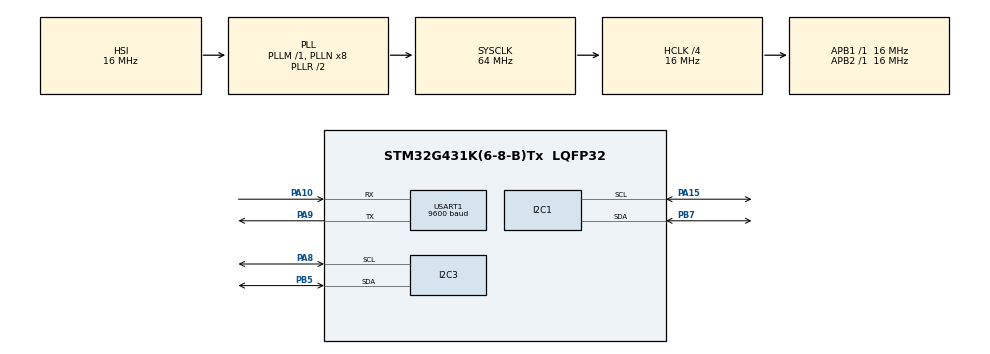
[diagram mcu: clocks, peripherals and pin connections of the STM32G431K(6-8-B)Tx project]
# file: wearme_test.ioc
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I2C1.Timing=0x00503D58
I2C3.Timing=0x00503D58
Mcu.Family=STM32G4
Mcu.Name=STM32G431K(6-8-B)Tx
Mcu.Package=LQFP32
NUCLEO-G431KB.LD2=false
NVIC.PriorityGroup=NVIC_PRIORITYGROUP_4
PA10.Mode=Asynchronous
PA10.Signal=USART1_RX
PA13.GPIO_Label=T_SWDIO
PA13.Mode=Trace_Asynchronous_SW
PA13.Signal=SYS_JTMS-SWDIO
PA14.GPIO_Label=T_SWCLK
PA14.Mode=Trace_Asynchronous_SW
PA14.Signal=SYS_JTCK-SWCLK
PA15.Mode=I2C
PA15.Signal=I2C1_SCL
PA8.Mode=I2C
PA8.Signal=I2C3_SCL
PA9.Mode=Asynchronous
PA9.Signal=USART1_TX
PB3.GPIO_Label=T_SWO
PB3.Mode=Trace_Asynchronous_SW
PB3.Signal=SYS_JTDO-SWO
PB5.Mode=I2C
PB5.Signal=I2C3_SDA
PB7.Mode=I2C
PB7.Signal=I2C1_SDA
ProjectManager.HeapSize=0x200
ProjectManager.StackSize=0x400
ProjectManager.TargetToolchain=STM32CubeIDE
RCC.ADC12Freq_Value=64000000
RCC.AHBCLKDivider=RCC_SYSCLK_DIV4
RCC.AHBFreq_Value=16000000
RCC.APB1Freq_Value=16000000
RCC.APB1TimFreq_Value=16000000
RCC.APB2Freq_Value=16000000
RCC.APB2TimFreq_Value=16000000
RCC.CortexFreq_Value=16000000
RCC.EXTERNAL_CLOCK_VALUE=12288000
RCC.HCLKFreq_Value=16000000
RCC.HSE_VALUE=8000000
RCC.HSI48_VALUE=48000000
RCC.HSI_VALUE=16000000
RCC.LSE_VALUE=32768
RCC.SYSCLKFreq_VALUE=64000000
RCC.SYSCLKSource=RCC_SYSCLKSOURCE_PLLCLK
RCC.USBFreq_Value=64000000
RCC.VCOOutputFreq_Value=128000000
USART1.BaudRate=9600
USART1.VirtualMode-Asynchronous=VM_ASYNC
VP_NUCLEO-G431KB_VS_BSP_COMMON.Mode=COMMON
VP_SYS_VS_DBSignals.Mode=DisableDeadBatterySignals
board=NUCLEO-G431KB

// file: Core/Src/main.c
/* USER CODE BEGIN Header */
/**
  ******************************************************************************
  * @file           : main.c
  * @brief          : Main program body
  ******************************************************************************
  * @attention
  *
  * Copyright (c) 2026 STMicroelectronics.
  * All rights reserved.
  *
  * This software is licensed under terms that can be found in the LICENSE file
  * in the root directory of this software component.
  * If no LICENSE file comes with this software, it is provided AS-IS.
  *
  ******************************************************************************
  */
/* USER CODE END Header */
#include "main.h"

/* USER CODE BEGIN Includes */
#include "max30102.h"
#include "mpu6050.h"
#include <stdio.h>
#include <string.h>
/* USER CODE END Includes */

I2C_HandleTypeDef hi2c1;
I2C_HandleTypeDef hi2c3;

UART_HandleTypeDef huart1;

/* USER CODE BEGIN PV */
MAX30102_HANDLE sensor;
volatile uint8_t max30102_data_ready = 0;
/* USER CODE END PV */

void SystemClock_Config(void);
static void MX_GPIO_Init(void);
static void MX_I2C1_Init(void);
static void MX_I2C3_Init(void);
static void MX_USART1_UART_Init(void);

/* USER CODE BEGIN 0 */

//	Redirigir printf a ITM puerto 0 (SWV)
int _write(int file, char *ptr, int len)
{
    for (int i = 0; i < len; i++)
    {
        ITM_SendChar((uint32_t)ptr[i]);
    }
    return len;
}

//	ENVIAR STRING POR UART AL BLE
void BT_Send(const char* msg)
{
    uint16_t len = strlen(msg);
    if (len > 20) len = 20;
    HAL_UART_Transmit(&huart1, (uint8_t*)msg, len, 1000);
}
/* USER CODE END 0 */

int main(void)
{

  /* MCU Configuration--------------------------------------------------------*/

  /* Reset of all peripherals, Initializes the Flash interface and the Systick. */
  HAL_Init();

  /* Configure the system clock */
  SystemClock_Config();

  /* Initialize all configured peripherals */
  MX_GPIO_Init();
  MX_I2C1_Init();
  MX_I2C3_Init();
  MX_USART1_UART_Init();
  /* USER CODE BEGIN 2 */

  //	MAX30102
  MAX30102_Init(&sensor, &hi2c3);
  MAX30102_I2C_Finder();
  //	MPU6050
  MPU6050_Init();
  MPU6050_FR_Init();
  //	TIMER
  //HAL_TIM_Base_Start_IT(&htim6);

  /* USER CODE END 2 */

  /* Infinite loop */
  /* USER CODE BEGIN WHILE */
  static uint16_t last_hr_sc	= 0;
  static uint16_t last_spo2_sc	= 0;

  while (1)
  {
	  max30102_data_ready = 1 ;
	  if(max30102_data_ready)
	  {
		  max30102_data_ready = 0;
		  MAX30102_ReadFIFO(&sensor);
	  }
	  //	CÁLCULO HR
	  if (sensor.hr_buf_ready &&
			  (sensor.sample_count - last_hr_sc) >= 50)
	  {
		  last_hr_sc = sensor.sample_count;
		  if (MAX30102_SignalValid_HR(&sensor))
		  MAX30102_Calc_HR(&sensor);
	  }
	  //	CÁLCULO SPO2
	  if (sensor.spo2_buf_ready &&
			  (sensor.sample_count - last_spo2_sc) >= 100)
	  {
		  last_spo2_sc = sensor.sample_count;
		  if (MAX30102_SignalValid_SPO2(&sensor))
		  MAX30102_Calc_SPO2(&sensor);
	  }
	  //	CÁLCULO FR Y ET
	  MPU6050_FR_Update();
    /* USER CODE END WHILE */

    /* USER CODE BEGIN 3 */
	//HAL_PWR_EnterSLEEPMode(PWR_MAINREGULATOR_ON, PWR_SLEEPENTRY_WFI);
  }
  /* USER CODE END 3 */
}

void SystemClock_Config(void)
{
  RCC_OscInitTypeDef RCC_OscInitStruct = {0};
  RCC_ClkInitTypeDef RCC_ClkInitStruct = {0};

  /** Configure the main internal regulator output voltage
  */
  HAL_PWREx_ControlVoltageScaling(PWR_REGULATOR_VOLTAGE_SCALE1);

  /** Initializes the RCC Oscillators according to the specified parameters
  * in the RCC_OscInitTypeDef structure.
  */
  RCC_OscInitStruct.OscillatorType = RCC_OSCILLATORTYPE_HSI;
  RCC_OscInitStruct.HSIState = RCC_HSI_ON;
  RCC_OscInitStruct.HSICalibrationValue = RCC_HSICALIBRATION_DEFAULT;
  RCC_OscInitStruct.PLL.PLLState = RCC_PLL_ON;
  RCC_OscInitStruct.PLL.PLLSource = RCC_PLLSOURCE_HSI;
  RCC_OscInitStruct.PLL.PLLM = RCC_PLLM_DIV1;
  RCC_OscInitStruct.PLL.PLLN = 8;
  RCC_OscInitStruct.PLL.PLLP = RCC_PLLP_DIV2;
  RCC_OscInitStruct.PLL.PLLQ = RCC_PLLQ_DIV2;
  RCC_OscInitStruct.PLL.PLLR = RCC_PLLR_DIV2;
  if (HAL_RCC_OscConfig(&RCC_OscInitStruct) != HAL_OK)
  {
    Error_Handler();
  }

  /** Initializes the CPU, AHB and APB buses clocks
  */
  RCC_ClkInitStruct.ClockType = RCC_CLOCKTYPE_HCLK|RCC_CLOCKTYPE_SYSCLK
                              |RCC_CLOCKTYPE_PCLK1|RCC_CLOCKTYPE_PCLK2;
  RCC_ClkInitStruct.SYSCLKSource = RCC_SYSCLKSOURCE_PLLCLK;
  RCC_ClkInitStruct.AHBCLKDivider = RCC_SYSCLK_DIV4;
  RCC_ClkInitStruct.APB1CLKDivider = RCC_HCLK_DIV1;
  RCC_ClkInitStruct.APB2CLKDivider = RCC_HCLK_DIV1;

  if (HAL_RCC_ClockConfig(&RCC_ClkInitStruct, FLASH_LATENCY_0) != HAL_OK)
  {
    Error_Handler();
  }
}

static void MX_I2C1_Init(void)
{

  hi2c1.Instance = I2C1;
  hi2c1.Init.Timing = 0x00503D58;
  hi2c1.Init.OwnAddress1 = 0;
  hi2c1.Init.AddressingMode = I2C_ADDRESSINGMODE_7BIT;
  hi2c1.Init.DualAddressMode = I2C_DUALADDRESS_DISABLE;
  hi2c1.Init.OwnAddress2 = 0;
  hi2c1.Init.OwnAddress2Masks = I2C_OA2_NOMASK;
  hi2c1.Init.GeneralCallMode = I2C_GENERALCALL_DISABLE;
  hi2c1.Init.NoStretchMode = I2C_NOSTRETCH_DISABLE;
  if (HAL_I2C_Init(&hi2c1) != HAL_OK)
  {
    Error_Handler();
  }

  /** Configure Analogue filter
  */
  if (HAL_I2CEx_ConfigAnalogFilter(&hi2c1, I2C_ANALOGFILTER_ENABLE) != HAL_OK)
  {
    Error_Handler();
  }

  /** Configure Digital filter
  */
  if (HAL_I2CEx_ConfigDigitalFilter(&hi2c1, 0) != HAL_OK)
  {
    Error_Handler();
  }

}

static void MX_I2C3_Init(void)
{

  hi2c3.Instance = I2C3;
  hi2c3.Init.Timing = 0x00503D58;
  hi2c3.Init.OwnAddress1 = 0;
  hi2c3.Init.AddressingMode = I2C_ADDRESSINGMODE_7BIT;
  hi2c3.Init.DualAddressMode = I2C_DUALADDRESS_DISABLE;
  hi2c3.Init.OwnAddress2 = 0;
  hi2c3.Init.OwnAddress2Masks = I2C_OA2_NOMASK;
  hi2c3.Init.GeneralCallMode = I2C_GENERALCALL_DISABLE;
  hi2c3.Init.NoStretchMode = I2C_NOSTRETCH_DISABLE;
  if (HAL_I2C_Init(&hi2c3) != HAL_OK)
  {
    Error_Handler();
  }

  /** Configure Analogue filter
  */
  if (HAL_I2CEx_ConfigAnalogFilter(&hi2c3, I2C_ANALOGFILTER_ENABLE) != HAL_OK)
  {
    Error_Handler();
  }

  /** Configure Digital filter
  */
  if (HAL_I2CEx_ConfigDigitalFilter(&hi2c3, 0) != HAL_OK)
  {
    Error_Handler();
  }

}

static void MX_USART1_UART_Init(void)
{

  huart1.Instance = USART1;
  huart1.Init.BaudRate = 9600;
  huart1.Init.WordLength = UART_WORDLENGTH_8B;
  huart1.Init.StopBits = UART_STOPBITS_1;
  huart1.Init.Parity = UART_PARITY_NONE;
  huart1.Init.Mode = UART_MODE_TX_RX;
  huart1.Init.HwFlowCtl = UART_HWCONTROL_NONE;
  huart1.Init.OverSampling = UART_OVERSAMPLING_16;
  huart1.Init.OneBitSampling = UART_ONE_BIT_SAMPLE_DISABLE;
  huart1.Init.ClockPrescaler = UART_PRESCALER_DIV1;
  huart1.AdvancedInit.AdvFeatureInit = UART_ADVFEATURE_NO_INIT;
  if (HAL_UART_Init(&huart1) != HAL_OK)
  {
    Error_Handler();
  }
  if (HAL_UARTEx_SetTxFifoThreshold(&huart1, UART_TXFIFO_THRESHOLD_1_8) != HAL_OK)
  {
    Error_Handler();
  }
  if (HAL_UARTEx_SetRxFifoThreshold(&huart1, UART_RXFIFO_THRESHOLD_1_8) != HAL_OK)
  {
    Error_Handler();
  }
  if (HAL_UARTEx_DisableFifoMode(&huart1) != HAL_OK)
  {
    Error_Handler();
  }

}

static void MX_GPIO_Init(void)
{

  /* GPIO Ports Clock Enable */
  __HAL_RCC_GPIOA_CLK_ENABLE();
  __HAL_RCC_GPIOB_CLK_ENABLE();

}

/* USER CODE BEGIN 4 */
/*void HAL_TIM_PeriodElapsedCallback(TIM_HandleTypeDef *htim)
{
    if (htim->Instance == TIM6)
        max30102_data_ready = 1;
}*/
/* USER CODE END 4 */

/* USER CODE BEGIN Header */
/**
  ******************************************************************************
  * @file           : main.c
  * @brief          : Main program body
  ******************************************************************************
  * @attention
  *
  * Copyright (c) 2026 STMicroelectronics.
  * All rights reserved.
  *
  * This software is licensed under terms that can be found in the LICENSE file
  * in the root directory of this software component.
  * If no LICENSE file comes with this software, it is provided AS-IS.
  *
  ******************************************************************************
  */
/* USER CODE END Header */

void Error_Handler(void)
{
  __disable_irq();
  while (1)
  {
  }
}
